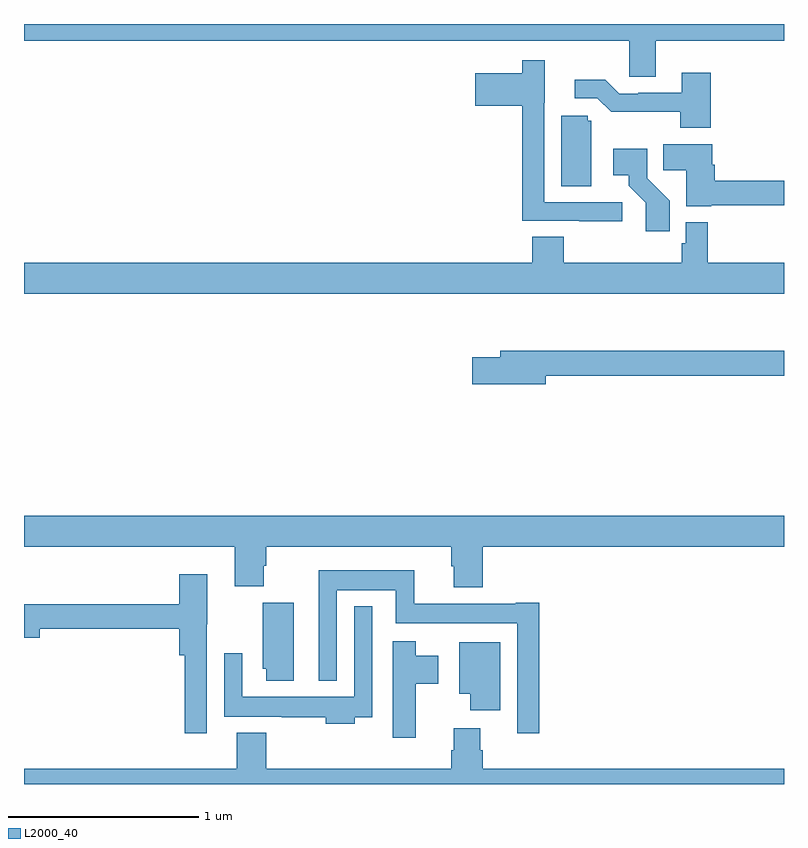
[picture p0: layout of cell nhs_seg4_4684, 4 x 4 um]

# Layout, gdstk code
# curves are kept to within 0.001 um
import gdstk
lib = gdstk.Library(unit=1e-6, precision=1e-09)
def P(c, l, *ps):  # polygons
    for p in ps: c.add(gdstk.Polygon(p, *l))
L2000_40 = (2000, 40)

nhs_seg4_4684 = lib.new_cell('nhs_seg4_4684')
P(nhs_seg4_4684, L2000_40, [(366.325,804.812),(367,804.812),(367,804.9),(363,804.9),(363,804.812),(366.186,804.812),(366.186,804.622),(366.325,804.622)],
  [(366.148,803.961),(365.739,803.961),(365.739,804.486),(365.74,804.486),(365.74,804.709),(365.623,804.709),(365.623,804.64),(365.376,804.64),(365.376,804.47),(365.623,804.47),(365.623,803.865),(365.923,803.865),(365.923,803.863),(366.148,803.863)],
  [(366.614,804.643),(366.461,804.643),(366.461,804.537),(366.232,804.537),(366.232,804.534),(366.132,804.534),(366.059,804.607),(365.898,804.607),(365.898,804.51),(366.018,804.51),(366.091,804.437),(366.454,804.438),(366.454,804.353),(366.614,804.353)],
  [(365.986,804.39),(365.967,804.39),(365.967,804.417),(365.828,804.417),(365.828,804.046),(365.986,804.046)],
  [(366.618,803.946),(367,803.946),(367,804.074),(366.635,804.074),(366.635,804.158),(366.622,804.158),(366.622,804.268),(366.364,804.268),(366.364,804.13),(366.485,804.13),(366.485,803.942),(366.618,803.942)],
  [(366.398,803.97),(366.279,804.089),(366.279,804.244),(366.102,804.244),(366.102,804.104),(366.182,804.104),(366.182,804.049),(366.273,803.959),(366.273,803.808),(366.398,803.808)],
  [(367,803.644),(366.599,803.644),(366.599,803.857),(366.483,803.857),(366.483,803.745),(366.463,803.745),(366.463,803.644),(365.84,803.644),(365.84,803.78),(365.675,803.78),(365.675,803.644),(363,803.644),(363,803.48),(367,803.48)],
  [(365.746,803.05),(367,803.05),(367,803.179),(365.507,803.179),(365.507,803.145),(365.358,803.145),(365.358,803.003),(365.746,803.003)],
  [(365.414,802.148),(367,802.148),(367,802.312),(363,802.312),(363,802.148),(364.109,802.148),(364.109,801.94),(364.261,801.94),(364.261,802.049),(364.274,802.049),(364.274,802.148),(365.249,802.148),(365.249,802.047),(365.261,802.047),(365.261,801.935),(365.414,801.935)],
  [(365.711,801.853),(365.588,801.853),(365.588,801.85),(365.054,801.85),(365.054,802.024),(364.55,802.024),(364.55,801.443),(364.647,801.443),(364.647,801.92),(364.956,801.92),(364.956,801.746),(365.595,801.746),(365.595,801.168),(365.711,801.168)],
  [(363.963,801.741),(363.964,801.741),(363.964,802.003),(363.818,802.003),(363.818,801.847),(363,801.847),(363,801.671),(363.082,801.671),(363.082,801.718),(363.818,801.718),(363.818,801.578),(363.847,801.578),(363.847,801.168),(363.963,801.168)],
  [(364.42,801.855),(364.256,801.855),(364.256,801.507),(364.274,801.507),(364.274,801.444),(364.42,801.444)],
  [(364.741,801.252),(364.833,801.252),(364.833,801.835),(364.737,801.835),(364.737,801.358),(364.149,801.358),(364.149,801.589),(364.053,801.589),(364.053,801.254),(364.357,801.254),(364.357,801.252),(364.589,801.252),(364.589,801.218),(364.741,801.218)],
  [(365.062,801.427),(365.179,801.427),(365.179,801.574),(365.062,801.574),(365.062,801.652),(364.94,801.652),(364.94,801.144),(365.062,801.144)],
  [(365.506,801.646),(365.291,801.646),(365.291,801.374),(365.348,801.374),(365.348,801.288),(365.506,801.288)],
  [(367,800.98),(365.414,800.98),(365.414,801.078),(365.401,801.078),(365.401,801.193),(365.261,801.193),(365.261,801.078),(365.249,801.078),(365.249,800.98),(364.274,800.98),(364.274,801.169),(364.121,801.169),(364.121,800.98),(363,800.98),(363,800.9),(367,800.9)])

lib.write_gds('nhs_seg4_4684.gds')
